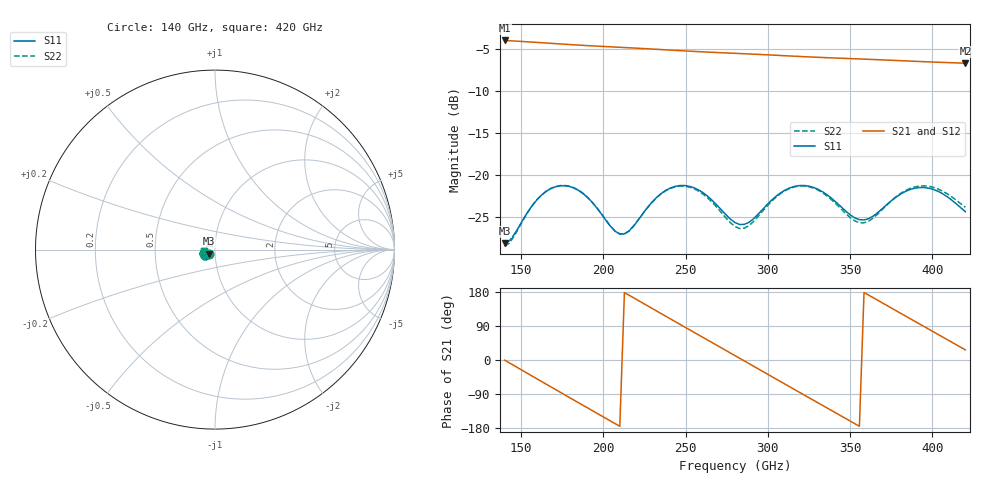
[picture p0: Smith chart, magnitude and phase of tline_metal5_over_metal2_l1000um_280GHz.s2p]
#  GHZ S DB R 50
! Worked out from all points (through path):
!   101 points, 140 GHz to 420 GHz, reference 50 ohm
!   highest |S21| = -4.04 dB at 140 GHz (marker M1); lowest = -6.7 dB at 420 GHz (marker M2)
!   group delay of S21, straight-line fit = 6.87 ps
!   lowest |S11| = -28.1 dB at 140 GHz (marker M3), VSWR 1.08, Z = 46.8 - j2.1 ohm
!   |S11| at or under -10 dB: start of sweep to end of sweep
!   |S22| runs from -28.4 to -21.2 dB; largest |S21 - S12| = 8.2e-14
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140  -28.07 -145.4  -4.04 -0.4  -4.04 -0.4  -28.41 -144.2
151.2  -25.26 -125.4  -4.16 -28.5  -4.16 -28.5  -25.33 -123.7
165.2  -21.93 -135.2  -4.34 -63.6  -4.34 -63.6  -21.91 -134.1
176.4  -21.24 -150.4  -4.48 -91.5  -4.48 -91.5  -21.22 -149.6
187.6  -22.17 -164.4  -4.62 -119.4  -4.62 -119.4  -22.14 -163.8
198.8  -24.60 -170.4  -4.74 -147.2  -4.74 -147.2  -24.58 -169.9
210  -26.98 -155.9  -4.85 -175.0  -4.85 -175.0  -26.96 -155.6
221.2  -25.30 -136.6  -4.96 157.1  -4.96 157.1  -25.31 -136.4
235.2  -22.17 -140.6  -5.12 122.3  -5.12 122.3  -22.19 -140.5
254.8  -21.47 -162.6  -5.33 73.8  -5.33 73.8  -21.58 -162.8
268.8  -23.50 -172.1  -5.46 39.2  -5.46 39.2  -23.77 -172.5
280  -25.62 -164.7  -5.56 11.5  -5.56 11.5  -26.09 -163.8
294  -24.63 -145.3  -5.69 -23.1  -5.69 -23.1  -24.89 -142.3
308  -22.06 -147.7  -5.82 -57.7  -5.82 -57.7  -22.13 -145.2
327.6  -21.44 -166.5  -6.01 -106.0  -6.01 -106.0  -21.52 -164.7
341.6  -23.24 -174.7  -6.12 -140.4  -6.12 -140.4  -23.44 -173.0
352.8  -25.06 -168.5  -6.21 -168.0  -6.21 -168.0  -25.42 -165.7
364  -24.84 -154.2  -6.29 164.4  -6.29 164.4  -25.07 -149.5
375.2  -23.00 -150.3  -6.39 136.7  -6.39 136.7  -23.00 -145.4
386.4  -21.70 -156.8  -6.48 109.2  -6.48 109.2  -21.57 -152.2
397.6  -21.53 -166.7  -6.57 81.7  -6.57 81.7  -21.31 -162.2
420  -24.32 -174.3  -6.73 26.7  -6.73 26.7  -23.80 -170.6
